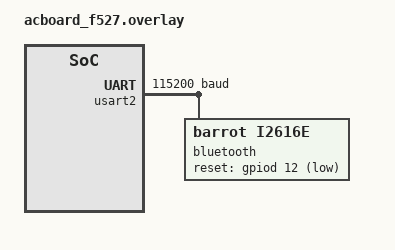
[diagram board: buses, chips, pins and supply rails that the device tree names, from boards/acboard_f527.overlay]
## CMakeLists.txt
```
# SPDX-License-Identifier: Apache-2.0

cmake_minimum_required(VERSION 3.20.0)

find_package(Zephyr REQUIRED HINTS $ENV{ZEPHYR_BASE})
project(acboard_i2616e_test)

target_sources(app PRIVATE src/main.c)
```

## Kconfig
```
# Copyright (c) 2026
# SPDX-License-Identifier: Apache-2.0

mainmenu "ACBoard i2616e test"

source "Kconfig.zephyr"
```

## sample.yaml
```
sample:
  name: ACBoard i2616e BLE module test
common:
  platform_allow:
    - acboard_f527
  tags:
    - bluetooth
    - uart
tests:
  sample.boards.acboard.i2616e_test:
    build_only: true
```

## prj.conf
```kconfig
CONFIG_SERIAL=y
CONFIG_UART_ASYNC_API=y
CONFIG_GPIO=y
CONFIG_PRINTK=y
CONFIG_LOG=y

# The i2616e driver pulls in the modem UART backend and pipe transport.
CONFIG_I2616E=y

CONFIG_MAIN_STACK_SIZE=2048
CONFIG_HEAP_MEM_POOL_SIZE=0
```

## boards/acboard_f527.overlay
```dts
#include <zephyr/dt-bindings/gpio/gpio.h>
#include <zephyr/dt-bindings/dma/gd32_dma.h>

&usart2 {
	status = "okay";
	current-speed = <115200>;
	pinctrl-0 = <&usart2_default>;
	pinctrl-names = "default";
	dmas = <&dma0 1 4 GD32_DMA_PRIORITY_HIGH 3>,
	       <&dma0 3 4 GD32_DMA_PRIORITY_HIGH 3>;
	dma-names = "rx", "tx";

	bluetooth: i2616e {
		compatible = "barrot,i2616e";
		reset-gpios = <&gpiod 12 GPIO_ACTIVE_LOW>;
	};
};
```

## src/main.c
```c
/*
 * Copyright (c) 2026
 * SPDX-License-Identifier: Apache-2.0
 */

#include <stddef.h>
#include <stdint.h>

#include <zephyr/device.h>
#include <zephyr/devicetree.h>
#include <zephyr/kernel.h>
#include <zephyr/sys/printk.h>

#include <zephyr/drivers/misc/i2616e/i2616e.h>

static const struct device *const bluetooth = DEVICE_DT_GET(DT_NODELABEL(bluetooth));

static const char *event_name(enum i2616e_event_type type)
{
	switch (type) {
	case I2616E_EVENT_READY:
		return "READY";
	case I2616E_EVENT_CONNECTED:
		return "CONNECTED";
	case I2616E_EVENT_DISCONNECTED:
		return "DISCONNECTED";
	case I2616E_EVENT_PAIR_REQUEST:
		return "PAIR_REQUEST";
	case I2616E_EVENT_PASSKEY_DISPLAY:
		return "PASSKEY_DISPLAY";
	case I2616E_EVENT_PASSKEY_REQUEST:
		return "PASSKEY_REQUEST";
	case I2616E_EVENT_PAIRED:
		return "PAIRED";
	case I2616E_EVENT_DATA_RECEIVED:
		return "DATA_RECEIVED";
	case I2616E_EVENT_CONNECTION_TIMEOUT:
		return "CONNECTION_TIMEOUT";
	case I2616E_EVENT_SERVICE_MISMATCH:
		return "SERVICE_MISMATCH";
	default:
		return "UNKNOWN";
	}
}

int main(void)
{
	static struct i2616e_event event;
	struct i2616e_info info;
	const struct i2616e_settings settings = {
		.name = "ID. UNYX Pro AC999",
		.bluetooth_mode = 0U,
		.silent = false,
		.command_mode = true,
		.multi_connection = true,
		.auto_unlock = true,
		.advertising = true,
	};
	char whitelist[I2616E_WHITELIST_MAX_SIZE + 1];
	int ret;

	printk("\nACBoard i2616e BLE module test\n");

	if (!device_is_ready(bluetooth)) {
		printk("i2616e device not ready\n");
		return 0;
	}

	ret = i2616e_hardware_reset(bluetooth);
	if (ret < 0) {
		printk("reset failed: %d\n", ret);
		return 0;
	}
	printk("module ready\n");

	ret = i2616e_get_info(bluetooth, &info);
	if (ret < 0) {
		printk("get_info failed: %d\n", ret);
		return 0;
	}
	printk("firmware : %s\n", info.firmware_version);
	printk("config   : %s\n", info.config_version);
	printk("name     : %s\n", info.name);
	printk("address  : %s\n", info.address);
	printk("baudrate : %u\n", info.baudrate);
	printk("flowctrl : %d\n", info.flow_control);
	printk("btmode   : %u\n", info.bluetooth_mode);

	ret = i2616e_apply_settings(bluetooth, &settings);
	if (ret < 0) {
		printk("apply_settings failed: %d\n", ret);
		return 0;
	}
	printk("settings applied\n");

	ret = i2616e_whitelist_get(bluetooth, whitelist, sizeof(whitelist));
	if (ret == 0) {
		printk("whitelist: %s\n", whitelist);
	}

	printk("waiting for events...\n");
	while (true) {
		ret = i2616e_get_event(bluetooth, &event, K_FOREVER);
		if (ret < 0) {
			continue;
		}

		switch (event.type) {
		case I2616E_EVENT_PAIR_REQUEST:
			printk("event: PAIR_REQUEST cid=%s -> accept\n", event.cid);
			(void)i2616e_pair_confirm(bluetooth, event.cid, true);
			break;
		case I2616E_EVENT_PASSKEY_DISPLAY:
			printk("event: PASSKEY_DISPLAY cid=%s passkey=%06u\n", event.cid,
			       event.passkey);
			break;
		case I2616E_EVENT_PAIRED:
			printk("event: PAIRED cid=%s addr=%s\n", event.cid, event.address);
			break;
		case I2616E_EVENT_DATA_RECEIVED:
			printk("event: DATA cid=%s len=%zu\n", event.cid, event.length);
			/* Echo the payload back to the peer. */
			(void)i2616e_send(bluetooth, event.cid, event.data, event.length);
			break;
		default:
			printk("event: %s cid=%s\n", event_name(event.type), event.cid);
			break;
		}
	}

	return 0;
}
```
